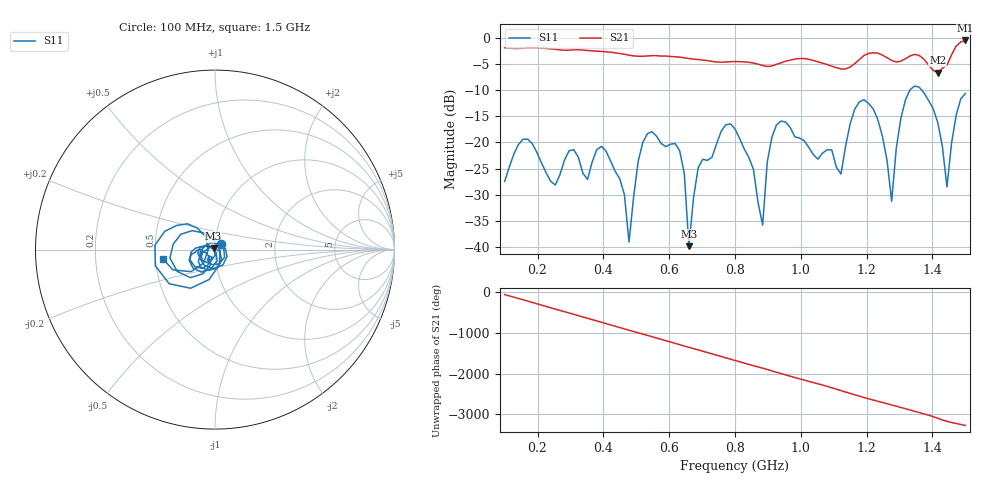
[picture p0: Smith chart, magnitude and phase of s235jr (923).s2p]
! NanoVNA-App
! Date: 2025-09-25 15:11:21
! Start: 100MHz Stop: 1,5GHz Points: 101
! S-Parameter data: F S11 S21 S12 S22
# Hz S RI R 50
!  Frequency  S11_Real  S11_Imag  S21_Real  S21_Imag  S12_Real  S12_Imag  S22_Real  S22_Imag
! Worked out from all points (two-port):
!   101 points, 100 MHz to 1.5 GHz, reference 50 ohm
!   highest |S21| = -0.56 dB at 1.5 GHz (marker M1); lowest = -6.7 dB at 1.416 GHz (marker M2)
!   |S21| within 3 dB of the highest: start of sweep to 503.7 MHz; 525.2 MHz to 594.6 MHz (69.35 MHz wide, 12.4 % of centre) (the widest 2 of 5)
!   lowest |S11| = -39.8 dB at 660 MHz (marker M3), VSWR 1.02, Z = 49.2 + j0.645 ohm
!   |S11| at or under -10 dB: start of sweep to 1.332 GHz; 1.367 GHz to end of sweep
!   S12 and S22 are empty: the file has one direction only
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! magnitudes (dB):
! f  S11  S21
! 100 MHz  -27.5  -2.0
! 156 MHz  -19.4  -2.0
! 338 MHz  -25.9  -2.4
! 408 MHz  -21.6  -2.7
! 478 MHz  -39.0  -3.4
! 520 MHz  -20.0  -3.6
! 576 MHz  -20.2  -3.5
! 632 MHz  -21.6  -3.7
! 660 MHz  -39.8  -4.0
! 688 MHz  -24.9  -4.2
! 800 MHz  -17.4  -4.6
! 884 MHz  -35.8  -5.3
! 926 MHz  -16.7  -5.1
! 1.038 GHz  -22.3  -4.4
! 1.122 GHz  -26.0  -6.0
! 1.192 GHz  -11.9  -3.4
! 1.248 GHz  -18.9  -3.4
! 1.276 GHz  -31.2  -4.4
! 1.332 GHz  -9.9  -3.5
! 1.416 GHz  -16.2  -6.7
! 1.444 GHz  -28.5  -5.3
! 1.5 GHz  -10.7  -0.6
